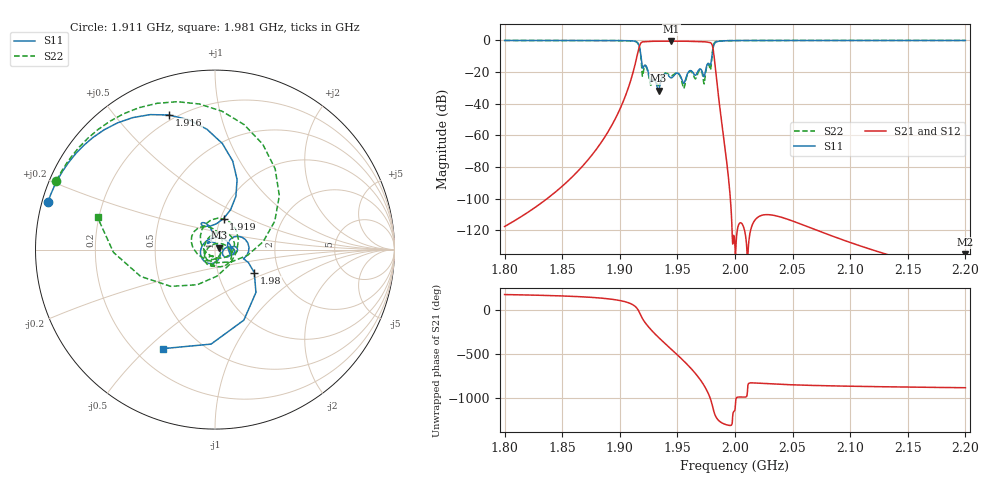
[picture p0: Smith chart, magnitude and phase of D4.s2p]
! Touchstone file exported from HFSS 2023.1.0
!  File:  E:/1.Project/CoxailF/seventhree.aedt
!  Generated:  9:26:43 %x4E0B%x5348  5%x6708 24, 2023
!  Design:  Resonator_out6
!  Project:  seventhree
!  Setup:  Setup1
!  Solution:  Sweep
! Variables:
!  Hin1 = 26mm
!  Hout = 29mm
!  L12 = 14.8mm
!  L13 = 14.7mm
!  L23 = 6.9mm
!  L34 = 12.5mm
!  L45 = 7.7mm
!  L46 = 2mm
!  L56 = 8mm
!  L67 = 12.5mm
!  L78 = 9.1mm
!  L79 = 9.6mm
!  L89 = 15.9mm
!  Rin = 5mm
!  Rin2 = 4mm
!  Rout = 15mm
!  Rport = 1.15mm
!  Rport2 = 3mm
!  Rportin = 0.5mm
!  d = 3mm
!  d01 = 2.89mm
!  d02 = 3.49mm
!  d03 = 3.65mm
!  d04 = 3.7mm
!  d05 = 3.71mm
!  d06 = 3.7mm
!  d07 = 3.66mm
!  d08 = 3.55mm
!  d09 = 2.91mm
!  d12 = 18mm
!  d12x = 15.5mm
!  d12y = 25mm
!  d23 = 18mm
!  d34 = 30mm
!  hport = 10.4mm
!  hport2 = 10.4mm
!  lport = 12mm
!  lport2 = 1mm
!  lport_2 = 12mm
!  m = 2mm
!  w12 = 12mm
!  w13 = 10mm
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# GHz S MA R 50.000000
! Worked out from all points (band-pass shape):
!   1001 points, 1.8 GHz to 2.2 GHz, reference 50 ohm
!   highest |S21| = -0.46 dB at 1.945 GHz (marker M1); lowest = -148.2 dB at 2.2 GHz (marker M2)
!   |S21| within 3 dB of the highest: 1.917 GHz to 1.98 GHz (63.25 MHz wide, 3.25 % of centre)
!   lowest |S11| = -31.7 dB at 1.934 GHz (marker M3), VSWR 1.05, Z = 52.5 + j1.06 ohm
!   |S11| at or under -10 dB: 1.918 GHz to 1.98 GHz (61.53 MHz wide, 3.16 % of centre)
!   |S22| runs from -30.3 to 0.0 dB; largest |S21 - S12| = 4.6e-13
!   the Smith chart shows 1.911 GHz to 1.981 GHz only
!   S11 on the Smith chart (normalised r, x): 1.911 GHz: 0.02, +0.14; 1.916 GHz: 0.17, +0.70; 1.919 GHz: 1.03, +0.37; 1.98 GHz: 1.49, -0.41; 1.981 GHz: 0.31, -0.56
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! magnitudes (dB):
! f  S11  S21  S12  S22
! 1.8 GHz  0.0  -117.6  -117.6  0.0
! 1.867 GHz  0.0  -80.1  -80.1  0.0
! 1.893 GHz  -0.1  -53.4  -53.4  -0.1
! 1.911 GHz  -0.3  -22.0  -22.0  -0.3
! 1.916 GHz  -2.0  -6.6  -6.6  -2.3
! 1.919 GHz  -15.0  -1.1  -1.1  -18.9
! 1.927 GHz  -25.9  -0.5  -0.5  -28.3
! 1.934 GHz  -31.7  -0.5  -0.5  -28.6
! 1.939 GHz  -21.3  -0.5  -0.5  -20.9
! 1.945 GHz  -23.6  -0.5  -0.5  -22.4
! 1.95 GHz  -20.7  -0.5  -0.5  -20.7
! 1.955 GHz  -27.0  -0.5  -0.5  -30.1
! 1.961 GHz  -19.1  -0.6  -0.6  -19.5
! 1.973 GHz  -22.7  -0.8  -0.8  -26.5
! 1.98 GHz  -11.9  -2.0  -2.0  -13.2
! 1.981 GHz  -4.1  -6.4  -6.4  -3.4
! 1.984 GHz  -1.0  -22.0  -22.0  -0.6
! 1.993 GHz  -0.2  -76.8  -76.8  -0.1
! 2 GHz  -0.1  -130.4  -130.4  -0.1
! 2.067 GHz  0.0  -118.7  -118.7  0.0
! 2.134 GHz  0.0  -135.6  -135.6  0.0
! 2.2 GHz  0.0  -148.2  -148.2  0.0
